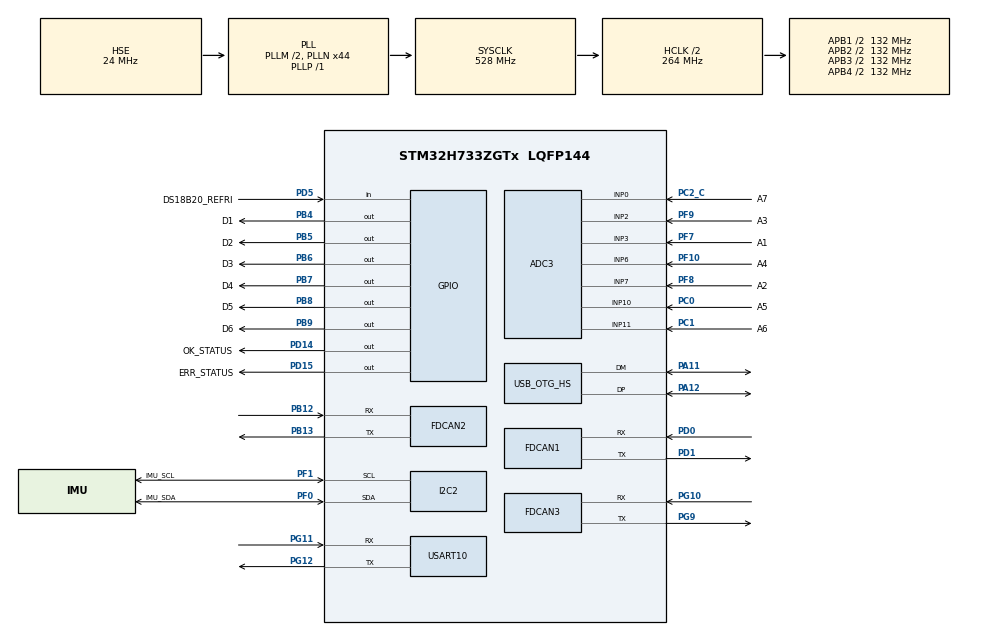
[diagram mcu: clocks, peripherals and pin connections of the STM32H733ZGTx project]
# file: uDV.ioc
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ADC3.Channel-0\#ChannelRegularConversion=ADC_CHANNEL_3
ADC3.NbrOfConversionFlag=1
ADC3.OffsetNumber-0\#ChannelRegularConversion=ADC_OFFSET_NONE
ADC3.OffsetSign-0\#ChannelRegularConversion=ADC3_OFFSET_SIGN_NEGATIVE
ADC3.Rank-0\#ChannelRegularConversion=1
ADC3.SamplingTime-0\#ChannelRegularConversion=ADC3_SAMPLETIME_2CYCLES_5
FDCAN1.AutoRetransmission=ENABLE
FDCAN1.CalculateBaudRateNominal=500000
FDCAN1.CalculateTimeBitNominal=2000
FDCAN1.CalculateTimeQuantumNominal=250.0
FDCAN1.ExtFiltersNbr=1
FDCAN1.NominalPrescaler=6
FDCAN1.NominalTimeSeg1=2
FDCAN1.NominalTimeSeg2=5
FDCAN1.RxBuffersNbr=0
FDCAN1.RxFifo0ElmtsNbr=32
FDCAN1.RxFifo1ElmtsNbr=32
FDCAN1.StdFiltersNbr=1
FDCAN1.TxBuffersNbr=0
FDCAN1.TxEventsNbr=0
FDCAN1.TxFifoQueueElmtsNbr=32
FDCAN2.CalculateBaudRateNominal=500000
FDCAN2.CalculateTimeBitNominal=2000
FDCAN2.CalculateTimeQuantumNominal=250.0
FDCAN2.ExtFiltersNbr=1
FDCAN2.FrameFormat=FDCAN_FRAME_CLASSIC
FDCAN2.NominalPrescaler=6
FDCAN2.NominalTimeSeg1=5
FDCAN2.NominalTimeSeg2=2
FDCAN2.RxBuffersNbr=0
FDCAN2.RxFifo0ElmtSize=FDCAN_DATA_BYTES_8
FDCAN2.RxFifo0ElmtsNbr=16
FDCAN2.RxFifo1ElmtsNbr=16
FDCAN2.StdFiltersNbr=3
FDCAN2.TxEventsNbr=0
FDCAN2.TxFifoQueueElmtsNbr=32
FDCAN3.CalculateBaudRateNominal=500000
FDCAN3.CalculateTimeBitNominal=2000
FDCAN3.CalculateTimeQuantumNominal=250.0
FDCAN3.ExtFiltersNbr=1
FDCAN3.NominalPrescaler=6
FDCAN3.NominalTimeSeg1=5
FDCAN3.NominalTimeSeg2=2
FDCAN3.RxFifo0ElmtsNbr=16
FDCAN3.RxFifo1ElmtsNbr=16
FDCAN3.StdFiltersNbr=1
FDCAN3.TxFifoQueueElmtsNbr=32
FREERTOS.Tasks01=defaultTask,24,3000,StartDefaultTask,Default,NULL,Dynamic,NULL,NULL
FREERTOS.configTOTAL_HEAP_SIZE=40960
FREERTOS.configUSE_IDLE_HOOK=1
I2C2.Speed=100
I2C2.Timing=0x20A0B1FF
Mcu.Family=STM32H7
Mcu.Name=STM32H733ZGTx
Mcu.Package=LQFP144
NVIC.FDCAN1_IT0_IRQn=true\:5\:0\:false\:false\:true\:true\:true\:true\:true
NVIC.FDCAN1_IT1_IRQn=true\:5\:0\:false\:false\:true\:true\:true\:true\:true
NVIC.FDCAN2_IT1_IRQn=true\:5\:0\:false\:false\:true\:true\:true\:true\:true
NVIC.FDCAN3_IT0_IRQn=true\:5\:0\:false\:false\:true\:true\:true\:true\:true
NVIC.OTG_HS_IRQn=true\:5\:0\:false\:false\:true\:true\:false\:true\:true
NVIC.PriorityGroup=NVIC_PRIORITYGROUP_4
NVIC.TIM1_UP_IRQn=true\:15\:0\:false\:false\:true\:false\:false\:true\:true
NVIC.TIM2_IRQn=true\:5\:0\:false\:false\:true\:true\:true\:true\:true
NVIC.TimeBase=TIM1_UP_IRQn
NVIC.TimeBaseIP=TIM1
PA11.Mode=Device_Only_FS
PA11.Signal=USB_OTG_HS_DM
PA12.Mode=Device_Only_FS
PA12.Signal=USB_OTG_HS_DP
PA13(JTMS/SWDIO).Mode=Serial_Wire
PA13(JTMS/SWDIO).Signal=DEBUG_JTMS-SWDIO
PA14(JTCK/SWCLK).Mode=Serial_Wire
PA14(JTCK/SWCLK).Signal=DEBUG_JTCK-SWCLK
PB12.Mode=FDCAN_Activate
PB12.Signal=FDCAN2_RX
PB13.Mode=FDCAN_Activate
PB13.Signal=FDCAN2_TX
PB4(NJTRST).GPIO_Label=D1
PB4(NJTRST).Signal=GPIO_Output
PB5.GPIO_Label=D2
PB5.Signal=GPIO_Output
PB6.GPIO_Label=D3
PB6.Signal=GPIO_Output
PB7.GPIO_Label=D4
PB7.Signal=GPIO_Output
PB8.GPIO_Label=D5
PB8.Signal=GPIO_Output
PB9.GPIO_Label=D6
PB9.Signal=GPIO_Output
PC0.GPIO_Label=A5
PC0.Signal=ADCx_INP10
PC1.GPIO_Label=A6
PC1.Signal=ADCx_INP11
PC2_C.GPIO_Label=A7
PC2_C.Mode=IN0-Single-Ended
PC2_C.Signal=ADC3_INP0
PD0.Mode=FDCAN_Activate
PD0.Signal=FDCAN1_RX
PD1.Mode=FDCAN_Activate
PD1.Signal=FDCAN1_TX
PD14.GPIO_Label=OK_STATUS
PD14.Signal=GPIO_Output
PD15.GPIO_Label=ERR_STATUS
PD15.Signal=GPIO_Output
PD5.GPIO_Label=DS18B20_REFRI
PD5.Signal=GPIO_Input
PF0.GPIO_Label=IMU_SDA
PF0.GPIO_Pu=GPIO_PULLUP
PF0.GPIO_Speed=GPIO_SPEED_FREQ_VERY_HIGH
PF0.Mode=I2C
PF0.Signal=I2C2_SDA
PF1.GPIO_Label=IMU_SCL
PF1.GPIO_Pu=GPIO_PULLUP
PF1.GPIO_Speed=GPIO_SPEED_FREQ_VERY_HIGH
PF1.Mode=I2C
PF1.Signal=I2C2_SCL
PF10.GPIO_Label=A4
PF10.Mode=IN6-Single-Ended
PF10.Signal=ADC3_INP6
PF7.GPIO_Label=A1
PF7.Mode=IN3-Single-Ended
PF7.Signal=ADC3_INP3
PF8.GPIO_Label=A2
PF8.Signal=SharedAnalog_PF8
PF9.GPIO_Label=A3
PF9.Mode=IN2-Single-Ended
PF9.Signal=ADC3_INP2
PG10.Mode=FDCAN_Activate
PG10.Signal=FDCAN3_RX
PG11.Mode=Asynchronous
PG11.Signal=USART10_RX
PG12.Mode=Asynchronous
PG12.Signal=USART10_TX
PG9.Mode=FDCAN_Activate
PG9.Signal=FDCAN3_TX
PH0-OSC_IN.Mode=HSE-External-Oscillator
PH0-OSC_IN.Signal=RCC_OSC_IN
PH1-OSC_OUT.Mode=HSE-External-Oscillator
PH1-OSC_OUT.Signal=RCC_OSC_OUT
ProjectManager.HeapSize=0x200
ProjectManager.StackSize=0x400
ProjectManager.TargetToolchain=Makefile
RCC.ADCCLockSelection=RCC_ADCCLKSOURCE_PLL2
RCC.ADCFreq_Value=48000000
RCC.APB1Freq_Value=132000000
RCC.APB2Freq_Value=132000000
RCC.APB3Freq_Value=132000000
RCC.APB4Freq_Value=132000000
RCC.CECCLockSelection=RCC_CECCLKSOURCE_LSI
RCC.CKPERSourceSelection=RCC_CLKPSOURCE_HSI
RCC.CSI_VALUE=4000000
RCC.CortexFreq_Value=528000000
RCC.Cortex_DivARG=SystemCoreClock/1000
RCC.D1PPRE=RCC_APB3_DIV2
RCC.D2PPRE1=RCC_APB1_DIV2
RCC.D2PPRE2=RCC_APB2_DIV2
RCC.D3PPRE=RCC_APB4_DIV2
RCC.DFSDMCLockSelection=RCC_DFSDM1CLKSOURCE_D2PCLK1
RCC.DIVM1=2
RCC.DIVM2=2
RCC.DIVN1=44
RCC.DIVN2=16
RCC.DIVP1=1
RCC.DIVP2=4
RCC.DIVQ1=4
RCC.DIVR2=6
RCC.EXTERNAL_CLOCK_VALUE=12288000
RCC.FDCANCLockSelection=RCC_FDCANCLKSOURCE_HSE
RCC.FMCCLockSelection=RCC_FMCCLKSOURCE_D1HCLK
RCC.HCLKFreq_Value=264000000
RCC.HPRE=RCC_HCLK_DIV2
RCC.HSE_VALUE=24000000
RCC.HSI48_VALUE=48000000
RCC.HSI_VALUE=64000000
RCC.I2C123CLockSelection=RCC_I2C1235CLKSOURCE_D2PCLK1
RCC.I2C4CLockSelection=RCC_I2C4CLKSOURCE_D3PCLK1
RCC.LPTIM1CLockSelection=RCC_LPTIM1CLKSOURCE_D2PCLK1
RCC.LPTIM2CLockSelection=RCC_LPTIM2CLKSOURCE_D3PCLK1
RCC.LPTIM345CLockSelection=RCC_LPTIM345CLKSOURCE_D3PCLK1
RCC.LPUART1CLockSelection=RCC_LPUART1CLKSOURCE_D3PCLK1
RCC.LSE_VALUE=32768
RCC.PLL2FRACN=0
RCC.PLL3FRACN=0
RCC.PLLFRACN=0
RCC.PLLSourceVirtual=RCC_PLLSOURCE_HSE
RCC.QSPICLockSelection=RCC_OSPICLKSOURCE_D1HCLK
RCC.RCC_MCO1Source=RCC_MCO1SOURCE_HSI
RCC.RCC_MCO2Source=RCC_MCO2SOURCE_SYSCLK
RCC.RNGCLockSelection=RCC_RNGCLKSOURCE_HSI48
RCC.SAI1CLockSelection=RCC_SAI1CLKSOURCE_PLL
RCC.SAI4ACLockSelection=RCC_SAI4ACLKSOURCE_PLL
RCC.SAI4BCLockSelection=RCC_SAI4BCLKSOURCE_PLL
RCC.SDMMC1CLockSelection=RCC_SDMMCCLKSOURCE_PLL2
RCC.SPDIFCLockSelection=RCC_SPDIFRXCLKSOURCE_PLL
RCC.SPI123CLockSelection=RCC_SPI123CLKSOURCE_PLL
RCC.SPI6CLockSelection=RCC_SPI6CLKSOURCE_D3PCLK1
RCC.SWPCLockSelection=RCC_SWPMI1CLKSOURCE_D2PCLK1
RCC.SYSCLKFreq_VALUE=528000000
RCC.SYSCLKSource=RCC_SYSCLKSOURCE_PLLCLK
RCC.Spi45ClockSelection=RCC_SPI45CLKSOURCE_D2PCLK1
RCC.USART16CLockSelection=RCC_USART16910CLKSOURCE_D2PCLK2
RCC.USART234578CLockSelection=RCC_USART234578CLKSOURCE_D2PCLK1
RCC.USBCLockSelection=RCC_USBCLKSOURCE_HSI48
RCC.USBFreq_Value=48000000
SH.ADCx_INP10.0=ADC3_INP10,IN10-Single-Ended
SH.ADCx_INP11.0=ADC3_INP11,IN11-Single-Ended
SH.SharedAnalog_PF8.0=ADC3_INN3
SH.SharedAnalog_PF8.1=ADC3_INP7,IN7-Single-Ended
TIM2.AutoReloadPreload=TIM_AUTORELOAD_PRELOAD_ENABLE
TIM2.Period=2499
TIM2.Prescaler=263
USART10.VirtualMode-Asynchronous=VM_ASYNC
USB_DEVICE.CLASS_NAME_HS=CDC
USB_DEVICE.VirtualMode=Cdc
USB_DEVICE.VirtualModeHS=Cdc_HS
USB_OTG_HS.VirtualMode-Device_Only_FS=Device_Only_FS
VP_CORDIC_VS_CORDIC.Mode=CORDIC_Activate
VP_FREERTOS_VS_CMSIS_V2.Mode=CMSIS_V2
VP_MEMORYMAP_VS_MEMORYMAP.Mode=CurAppReg
VP_SYS_VS_tim1.Mode=TIM1
VP_TIM2_VS_ClockSourceINT.Mode=Internal
VP_USB_DEVICE_VS_USB_DEVICE_CDC_HS.Mode=CDC_HS
board=custom

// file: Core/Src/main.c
/* USER CODE BEGIN Header */
/**
  ******************************************************************************
  * @file           : main.c
  * @brief          : Main program body
  ******************************************************************************
  * @attention
  *
  * Copyright (c) 2026 STMicroelectronics.
  * All rights reserved.
  *
  * This software is licensed under terms that can be found in the LICENSE file
  * in the root directory of this software component.
  * If no LICENSE file comes with this software, it is provided AS-IS.
  *
  ******************************************************************************
  */
/* USER CODE END Header */
#include "main.h"
#include "cmsis_os.h"
#include "adc.h"
#include "cordic.h"
#include "fdcan.h"
#include "i2c.h"
#include "usart.h"
#include "tim.h"
#include "usb_device.h"
#include "gpio.h"

/* USER CODE BEGIN Includes */
#include "safety_monitor.h"
#include "stm32h7xx_ll_cortex.h"
/* USER CODE END Includes */

void SystemClock_Config(void);
void MX_FREERTOS_Init(void);

int main(void)
{

  /* USER CODE BEGIN 1 */
  /* The CAN bootloader (isc-fs/stm32-can-bootloader, sector 0) jumps here with
   * IRQs masked (PRIMASK=1): it disables them before relocating VTOR and leaves
   * the unmasking to the app (bootloader ARCHITECTURE.md "Boot flow", step 6).
   * Nothing in CubeMX's startup or HAL_Init clears PRIMASK, so every HAL_GetTick
   * timeout before the scheduler (clock config, peripheral init) would spin
   * forever on a tick that never advances. Clear any SysTick left pending by the
   * bootloader (it stops SysTick but can't clear the pending bit), then unmask:
   * first thing, as the ECU does (IFS08-CE-ECU#70). A no-op on a cold boot.
   *
   * VTOR: the bootloader sets SCB->VTOR = 0x08020000 before the jump, and the
   * app never writes it (USER_VECT_TAB_ADDRESS stays undefined in
   * system_stm32h7xx.c), the same contract as the ECU. */
  SCB->ICSR = SCB_ICSR_PENDSTCLR_Msk;
  __enable_irq();
  /* USER CODE END 1 */

  /* MCU Configuration--------------------------------------------------------*/

  /* Reset of all peripherals, Initializes the Flash interface and the Systick. */
  HAL_Init();

  /* USER CODE BEGIN Init */
  // Zero RAM_D1 BSS section (startup only clears DTCMRAM .bss)
  {
    extern uint8_t _sram_d1_bss, _eram_d1_bss;
    uint8_t *p = &_sram_d1_bss;
    while (p < &_eram_d1_bss) *p++ = 0;
  }

  /* The idle hook sleeps the core with WFI (freertos.c). Make sure that WFI
   * means Sleep -- CPU clock gated, peripherals and buses running -- and
   * never Stop, which would stop the FDCAN, TIM2 and USB clocks, whatever
   * SLEEPDEEP was left at before the app started. (USB's suspend callback
   * would set SLEEPDEEP only with low_power_enable, which is DISABLE in
   * usbd_conf.c.) DBG_SLEEPD1 disables the automatic clock stop in Sleep
   * (RM0468 DBGMCU_CR): an attached debugger does not drop the connection,
   * and the core clock that drives DWT->CYCCNT keeps running, so the IMU
   * timestamps (dwt_time.c) keep counting real time while the core sleeps.
   * Keep it set while dwt_micros() is the time base. Deliberately in every
   * build, matching the AMS and the ECU: the image the car runs is the one
   * worth attaching to. */
  LL_LPM_EnableSleep();
  HAL_DBGMCU_EnableDBGSleepMode();
  /* USER CODE END Init */

  /* Configure the system clock */
  SystemClock_Config();

  /* Initialize all configured peripherals */
  MX_GPIO_Init();
  MX_FDCAN1_Init();
  MX_FDCAN2_Init();
  MX_FDCAN3_Init();
  MX_ADC3_Init();
  MX_I2C2_Init();
  MX_CORDIC_Init();
  MX_TIM2_Init();
  MX_USART10_UART_Init();
  /* USER CODE BEGIN 2 */

  /* ADC3 self-calibration (single-ended offset). Mandatory on the H7 before any
   * conversion or the EBS tank-pressure reads (PRES_1/2_IN) carry a raw
   * offset/gain error. Done here while the ADC is still disabled (pre-scheduler,
   * before any HAL_ADC_Start). Non-fatal: a failed calibration must not brick
   * boot — the safety FSM still comes up and holds EBS engaged. */
  if (HAL_ADCEx_Calibration_Start(&hadc3, ADC_CALIB_OFFSET, ADC_SINGLE_ENDED) != HAL_OK)
  {
    /* leave uncalibrated rather than hang; pressure reads will be less accurate */
  }

  /* Reboot reset-cause detection (idea from fix/17). A reset caused by
   * the IWDG means a prior fatal hang/lockup. Immediately assert the
   * safe state — EBS fired + SDC open (confirmed polarity: LOW = fire,
   * D4 LOW = SDC open; both are the fail-safe power-on level) — and tell
   * the safety monitor to come up LATCHED in emergency rather than
   * re-arming into normal operation. GPIO is already configured as output
   * by MX_GPIO_Init() above. The reset flags persist across the reset, so
   * this is observed even though the IWDG itself is started later (in the
   * safety task). */
  if (__HAL_RCC_GET_FLAG(RCC_FLAG_IWDG1RST) != RESET)
  {
    HAL_GPIO_WritePin(D1_GPIO_Port, D1_Pin, GPIO_PIN_RESET); /* fire EBS  */
    HAL_GPIO_WritePin(D2_GPIO_Port, D2_Pin, GPIO_PIN_RESET); /* fire EBS  */
    HAL_GPIO_WritePin(D4_GPIO_Port, D4_Pin, GPIO_PIN_RESET); /* open SDC  */
    safety_flag_watchdog_reset();
  }
  /* Clear all reset-cause flags so the next boot starts clean (otherwise
   * the IWDG flag stays set and every reboot would look watchdog-caused). */
  __HAL_RCC_CLEAR_RESET_FLAGS();
  /* USER CODE END 2 */

  /* Init scheduler */
  osKernelInitialize();  /* Call init function for freertos objects (in cmsis_os2.c) */
  MX_FREERTOS_Init();

  /* Start scheduler */
  osKernelStart();

  /* We should never get here as control is now taken by the scheduler */

  /* Infinite loop */
  while (1)
  {

  }
}

void SystemClock_Config(void)
{
  RCC_OscInitTypeDef RCC_OscInitStruct = {0};
  RCC_ClkInitTypeDef RCC_ClkInitStruct = {0};

  /** Supply configuration update enable
  */
  HAL_PWREx_ConfigSupply(PWR_LDO_SUPPLY);

  /** Configure the main internal regulator output voltage
  */
  __HAL_PWR_VOLTAGESCALING_CONFIG(PWR_REGULATOR_VOLTAGE_SCALE0);

  while(!__HAL_PWR_GET_FLAG(PWR_FLAG_VOSRDY)) {}

  /** Initializes the RCC Oscillators according to the specified parameters
  * in the RCC_OscInitTypeDef structure.
  */
  RCC_OscInitStruct.OscillatorType = RCC_OSCILLATORTYPE_HSI48|RCC_OSCILLATORTYPE_HSE;
  RCC_OscInitStruct.HSEState = RCC_HSE_ON;
  RCC_OscInitStruct.HSI48State = RCC_HSI48_ON;
  RCC_OscInitStruct.PLL.PLLState = RCC_PLL_ON;
  RCC_OscInitStruct.PLL.PLLSource = RCC_PLLSOURCE_HSE;
  RCC_OscInitStruct.PLL.PLLM = 2;
  RCC_OscInitStruct.PLL.PLLN = 44;
  RCC_OscInitStruct.PLL.PLLP = 1;
  RCC_OscInitStruct.PLL.PLLQ = 4;
  RCC_OscInitStruct.PLL.PLLR = 2;
  RCC_OscInitStruct.PLL.PLLRGE = RCC_PLL1VCIRANGE_3;
  RCC_OscInitStruct.PLL.PLLVCOSEL = RCC_PLL1VCOWIDE;
  RCC_OscInitStruct.PLL.PLLFRACN = 0;
  if (HAL_RCC_OscConfig(&RCC_OscInitStruct) != HAL_OK)
  {
    Error_Handler();
  }

  /** Initializes the CPU, AHB and APB buses clocks
  */
  RCC_ClkInitStruct.ClockType = RCC_CLOCKTYPE_HCLK|RCC_CLOCKTYPE_SYSCLK
                              |RCC_CLOCKTYPE_PCLK1|RCC_CLOCKTYPE_PCLK2
                              |RCC_CLOCKTYPE_D3PCLK1|RCC_CLOCKTYPE_D1PCLK1;
  RCC_ClkInitStruct.SYSCLKSource = RCC_SYSCLKSOURCE_PLLCLK;
  RCC_ClkInitStruct.SYSCLKDivider = RCC_SYSCLK_DIV1;
  RCC_ClkInitStruct.AHBCLKDivider = RCC_HCLK_DIV2;
  RCC_ClkInitStruct.APB3CLKDivider = RCC_APB3_DIV2;
  RCC_ClkInitStruct.APB1CLKDivider = RCC_APB1_DIV2;
  RCC_ClkInitStruct.APB2CLKDivider = RCC_APB2_DIV2;
  RCC_ClkInitStruct.APB4CLKDivider = RCC_APB4_DIV2;

  if (HAL_RCC_ClockConfig(&RCC_ClkInitStruct, FLASH_LATENCY_3) != HAL_OK)
  {
    Error_Handler();
  }
}

void HAL_TIM_PeriodElapsedCallback(TIM_HandleTypeDef *htim)
{
  if (htim->Instance == TIM1)
  {
    HAL_IncTick();
  }
  /* USER CODE BEGIN Callback 1 */
  if (htim->Instance == TIM2)
  {
    extern osSemaphoreId_t imuSemHandle;
    if (imuSemHandle != NULL)
    {
      osSemaphoreRelease(imuSemHandle);
    }
  }
  /* USER CODE END Callback 1 */
}

void Error_Handler(void)
{
  __disable_irq();
  while (1)
  {
  }
}

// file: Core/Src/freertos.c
/* USER CODE BEGIN Header */
/**
  ******************************************************************************
  * File Name          : freertos.c
  * Description        : Code for freertos applications
  ******************************************************************************
  * @attention
  *
  * Copyright (c) 2026 STMicroelectronics.
  * All rights reserved.
  *
  * This software is licensed under terms that can be found in the LICENSE file
  * in the root directory of this software component.
  * If no LICENSE file comes with this software, it is provided AS-IS.
  *
  ******************************************************************************
  */
/* USER CODE END Header */

#include "FreeRTOS.h"
#include "task.h"
#include "main.h"
#include "cmsis_os.h"

/* USER CODE BEGIN Includes */
#include "ros_task.h"

#include "imu_service.h"
#include "can_globals.h"
#include "i2c.h"
#include "cordic.h"
#include "tim.h"
#include "safety_monitor.h"
#include "dwt_time.h"
#include "imu_task.h"
/* USER CODE END Includes */

/* USER CODE BEGIN PD */
#define IMU_QUEUE_DEPTH 16   /* depth of imuQueueHandle (IMU task -> ROS task) */

/* ROS-task tuning macros moved to ros_task.c; dwt_micros() to dwt_time.c. */
/* USER CODE END PD */

/* USER CODE BEGIN Variables */
osThreadId_t imuTaskHandle;
const osThreadAttr_t imuTask_attributes = {
  .name = "imuTask",
  .stack_size = 2048 * 4,
  .priority = (osPriority_t) osPriorityAboveNormal,
};

osThreadId_t canTaskHandle;
const osThreadAttr_t canTask_attributes = {
  .name = "canTask",
  .stack_size = 1024 * 4,
  .priority = (osPriority_t) osPriorityAboveNormal,
};

/* Safety supervisor: highest app priority so it still runs (and refreshes
 * the IWDG / detects stalls) under load. Yields via osDelay each cycle. */
osThreadId_t safetyTaskHandle;
const osThreadAttr_t safetyTask_attributes = {
  .name = "safetyTask",
  .stack_size = 512 * 4,
  .priority = (osPriority_t) osPriorityHigh,
};

/* Application state machine (AS state machine + EBS init sequence). Loops
 * ~1 ms; monitored by the safety supervisor via SAFETY_TASK_APP. */
osThreadId_t appTaskHandle;
const osThreadAttr_t appTask_attributes = {
  .name = "appTask",
  .stack_size = 1024 * 4,
  .priority = (osPriority_t) osPriorityNormal,
};

/* ASSI status-LED renderer (assi_task.c): maps the AS mode set by app_task
 * onto UART commands to the Arduino LED bridge (see docs/ASSI_UART_BRIDGE.md).
 * Pure indication, no control role — lowest app priority. */
osThreadId_t assiTaskHandle;
const osThreadAttr_t assiTask_attributes = {
  .name = "assiTask",
  .stack_size = 512 * 4,
  .priority = (osPriority_t) osPriorityBelowNormal,
};

osMessageQueueId_t imuQueueHandle;
osMessageQueueId_t canRxQueueHandle;
osMessageQueueId_t resRxQueueHandle;
osMessageQueueId_t debugQueueHandle;
osSemaphoreId_t imuSemHandle;
/* USER CODE END Variables */
/* Definitions for defaultTask */
osThreadId_t defaultTaskHandle;
const osThreadAttr_t defaultTask_attributes = {
  .name = "defaultTask",
  .stack_size = 4096 * 4,
  .priority = (osPriority_t) osPriorityNormal,
};

/* USER CODE BEGIN FunctionPrototypes */
void StartImuTask(void *argument);
void StartCanTask(void *argument);
void StartAppTask(void *argument);   /* state machine, in app_task.cpp */
void StartAssiTask(void *argument);  /* ASSI LED renderer, in assi_task.c */
/* USER CODE END FunctionPrototypes */

void StartDefaultTask(void *argument);

extern void MX_USB_DEVICE_Init(void);
void MX_FREERTOS_Init(void); /* (MISRA C 2004 rule 8.1) */

/* Hook prototypes */
void vApplicationIdleHook(void);

/* USER CODE BEGIN 2 */
/* The hook body below lives in a CubeMX USER CODE block, so it survives a
 * regen even if uDV.ioc loses FREERTOS.configUSE_IDLE_HOOK -- and would then
 * silently never be called, putting the idle task back to spinning. Fail the
 * build instead. */
_Static_assert(configUSE_IDLE_HOOK == 1,
               "configUSE_IDLE_HOOK must be 1 (uDV.ioc FREERTOS.configUSE_IDLE_HOOK): "
               "vApplicationIdleHook sleeps the core with WFI");

void vApplicationIdleHook( void )
{
  /* Sleep until the next interrupt instead of spinning. The idle task only
   * runs when no task is ready, and every source that can ready one -- the
   * 1 kHz FreeRTOS tick (SysTick), the TIM1 HAL timebase, TIM2's 400 Hz IMU
   * tick, FDCAN1/FDCAN2/FDCAN3 RX and the USB OTG_HS (micro-ROS CDC)
   * interrupt -- is an interrupt that wakes the core within a few cycles, so
   * task timing is unchanged. The ADCs, I2C2 and USART10 are polled from
   * tasks and never need to wake it. Sleep (SLEEPDEEP clear, forced by
   * LL_LPM_EnableSleep in main.c) gates only the CPU clock: peripherals,
   * buses and the IWDG keep running. DBG_SLEEPD1 (main.c) keeps the clock
   * that drives DWT->CYCCNT, the IMU timestamp base (dwt_time.c), running in
   * Sleep. The DSB lets outstanding memory accesses complete before the
   * core stops. This hook must return and must never block: the idle task
   * also frees deleted tasks. */
  __DSB();
  __WFI();
}
/* USER CODE END 2 */

void MX_FREERTOS_Init(void) {

  /* USER CODE BEGIN RTOS_SEMAPHORES */
  imuSemHandle = osSemaphoreNew(1, 0, NULL);
  /* USER CODE END RTOS_SEMAPHORES */

  /* USER CODE BEGIN RTOS_QUEUES */
  imuQueueHandle   = osMessageQueueNew(IMU_QUEUE_DEPTH, sizeof(imu_sample_t), NULL);
  canRxQueueHandle = osMessageQueueNew(32, sizeof(can_msg_t), NULL);
  resRxQueueHandle = osMessageQueueNew(8, sizeof(can_msg_t), NULL);
  debugQueueHandle = osMessageQueueNew(8, 128, NULL);
  /* USER CODE END RTOS_QUEUES */

  /* Create the thread(s) */
  /* creation of defaultTask */
  defaultTaskHandle = osThreadNew(StartDefaultTask, NULL, &defaultTask_attributes);

  /* USER CODE BEGIN RTOS_THREADS */
  imuTaskHandle = osThreadNew(StartImuTask, NULL, &imuTask_attributes);
  canTaskHandle = osThreadNew(StartCanTask, NULL, &canTask_attributes);
  safetyTaskHandle = osThreadNew(StartSafetyTask, NULL, &safetyTask_attributes);
  appTaskHandle = osThreadNew(StartAppTask, NULL, &appTask_attributes);
  assiTaskHandle = osThreadNew(StartAssiTask, NULL, &assiTask_attributes);
  /* USER CODE END RTOS_THREADS */

}

/* ROS service/subscription callbacks moved to ros_task.c */

void StartDefaultTask(void *argument)
{
  /* init code for USB_DEVICE */
  MX_USB_DEVICE_Init();
  /* USER CODE BEGIN StartDefaultTask */
  ros_task_run();   /* micro-ROS node; defined in ros_task.c; never returns */
  /* USER CODE END StartDefaultTask */
}

/* USER CODE BEGIN Application */

void vApplicationStackOverflowHook(TaskHandle_t xTask, char *pcTaskName)
{
  (void)xTask; (void)pcTaskName;
  // Fatal: fire the EBS (D1/D2 are the EBS actuators; LOW = fire, the
  // fail-safe level) and hang so the IWDG resets us into the latched
  // safe state.
  HAL_GPIO_WritePin(D1_GPIO_Port, D1_Pin, GPIO_PIN_RESET);
  HAL_GPIO_WritePin(D2_GPIO_Port, D2_Pin, GPIO_PIN_RESET);
  for (;;) {}
}

/* StartImuTask is defined in imu_task.c */
/* StartCanTask is defined in can_task.cpp (extern "C") */

/* USER CODE END Application */
